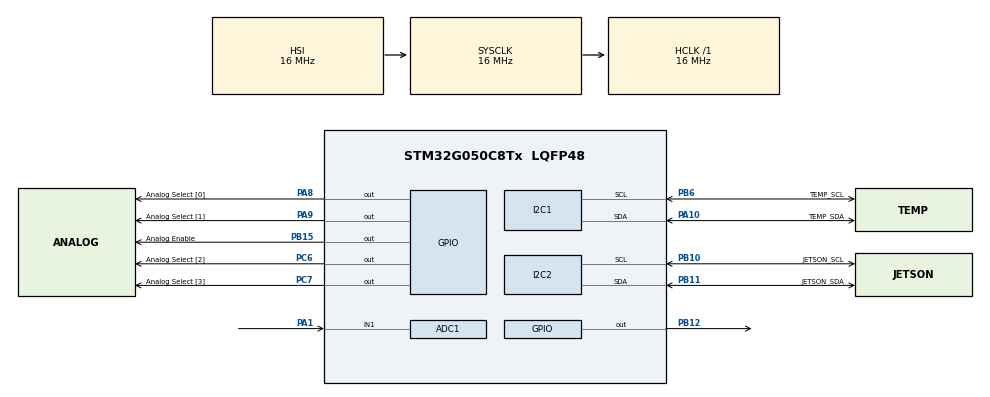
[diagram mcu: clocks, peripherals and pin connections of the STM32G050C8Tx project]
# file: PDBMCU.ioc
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ADC1.Channel-0\#ChannelRegularConversion=ADC_CHANNEL_1
ADC1.NbrOfConversionFlag=1
ADC1.Rank-0\#ChannelRegularConversion=1
ADC1.SamplingTime-0\#ChannelRegularConversion=ADC_SAMPLINGTIME_COMMON_1
ADC1.SelectedChannel=ADC_CHANNEL_1
ADC1.master=1
Mcu.Family=STM32G0
Mcu.Name=STM32G050C8Tx
Mcu.Package=LQFP48
PA1.Mode=IN1
PA1.Signal=ADC1_IN1
PA10.GPIO_Label=TEMP_SDA
PA10.Mode=I2C
PA10.Signal=I2C1_SDA
PA13.Mode=Serial_Wire
PA13.Signal=SYS_SWDIO
PA14-BOOT0.Mode=Serial_Wire
PA14-BOOT0.Signal=SYS_SWCLK
PA8.GPIO_Label=Analog Select [0]
PA8.Signal=GPIO_Output
PA9.GPIO_Label=Analog Select [1]
PA9.Signal=GPIO_Output
PB10.GPIO_Label=JETSON_SCL
PB10.Mode=I2C
PB10.Signal=I2C2_SCL
PB11.GPIO_Label=JETSON_SDA
PB11.Mode=I2C
PB11.Signal=I2C2_SDA
PB12.Signal=GPIO_Output
PB15.GPIO_Label=Analog Enable
PB15.Signal=GPIO_Output
PB6.GPIO_Label=TEMP_SCL
PB6.Mode=I2C
PB6.Signal=I2C1_SCL
PC6.GPIO_Label=Analog Select [2]
PC6.Signal=GPIO_Output
PC7.GPIO_Label=Analog Select [3]
PC7.Signal=GPIO_Output
ProjectManager.HeapSize=0x200
ProjectManager.StackSize=0x400
ProjectManager.TargetToolchain=STM32CubeIDE
RCC.AHBFreq_Value=16000000
RCC.CortexFreq_Value=16000000
RCC.EXTERNAL_CLOCK_VALUE=48000
RCC.HCLKFreq_Value=16000000
RCC.HSE_VALUE=8000000
RCC.HSI_VALUE=16000000
RCC.LSE_VALUE=32768
RCC.SYSCLKFreq_VALUE=16000000
RCC.VCOOutputFreq_Value=128000000
VP_SYS_VS_DBSignals.Mode=DisableDeadBatterySignals
board=custom

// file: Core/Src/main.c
/* USER CODE BEGIN Header */
/**
  ******************************************************************************
  * @file           : main.c
  * @brief          : Main program body
  ******************************************************************************
  * @attention
  *
  * <h2><center>&copy; Copyright (c) 2021 STMicroelectronics.
  * All rights reserved.</center></h2>
  *
  * This software component is licensed by ST under BSD 3-Clause license,
  * the "License"; You may not use this file except in compliance with the
  * License. You may obtain a copy of the License at:
  *                        opensource.org/licenses/BSD-3-Clause
  *
  ******************************************************************************
  */
/* USER CODE END Header */
#include "main.h"

/* USER CODE BEGIN Includes */
#include "temperature_sens.h"
#include "analog.h"
/* USER CODE END Includes */

/* USER CODE BEGIN PM */

#define TEMPERATURE_ENABLE
#define ANALOG_ENABLE

/* USER CODE END PM */

ADC_HandleTypeDef hadc1;

I2C_HandleTypeDef hi2c1;
I2C_HandleTypeDef hi2c2;

/* USER CODE BEGIN PV */

#ifdef TEMPERATURE_ENABLE

enum {
	TEMPERATURE_3_3_V_CHANNEL = 0,
	TEMPERATURE_5_V_CHANNEL = 1,
	TEMPERATURE_12_V_CHANNEL = 2,
	TEMPERATURE_DEVICES = 3
};

TemperatureSensor* temperature_channels[TEMPERATURE_DEVICES];

float temperature_data[TEMPERATURE_DEVICES];

SMBus* i2cBus;

#endif

#ifdef ANALOG_ENABLE

 enum {
 	VOLTAGE_DIVIDER_3_3_V = 0,
 	VOLTAGE_DIVIDER_5_V = 1,
 	VOLTAGE_DIVIDER_12_V = 2,
	VOLTAGE_DEVICES = 3
 };

enum {
	CS3_3_3_V = 0,
	CS2_5_V = 1,
	CS1_12_V = 2,
	CURRENT_DEVICES = 3
};

Analog* voltage_channels[VOLTAGE_DEVICES];
Analog* current_channels[CURRENT_DEVICES];

float voltage_data[VOLTAGE_DEVICES];
float current_data[CURRENT_DEVICES];

#endif

/* USER CODE END PV */

void SystemClock_Config(void);
static void MX_GPIO_Init(void);
static void MX_ADC1_Init(void);
static void MX_I2C1_Init(void);
static void MX_I2C2_Init(void);
/* USER CODE BEGIN PFP */

#ifdef TEMPERATURE_ENABLE

// EFFECTS: sends temperature data in the following format
// $TEMPERATURE,<t0>,<t1>,<t2>
void send_temperature_data();

#endif

#ifdef ANALOG_ENABLE

// EFFECTS: select analog channel
void select_analog_channel(const Analog* analog_device);

// EFFECTS: get analog data in the following format
// FORMAT: $CURRENT,<c0>,<c1>,<c2> and $VOLTAGE,<v0>,<v1>,<v2>
void get_analog_data();

// EFFECTS: send current data in the following format
// FORMAT: $CURRENT,<c0>,<c1>,<c2>
void send_current_data();

// EFFECTS: send voltage data in the following format
// FORMAT: $VOLTAGE,<v0>,<v1>,<v2>
void send_voltage_data();

#endif

/* USER CODE END PFP */

/* USER CODE BEGIN 0 */

#ifdef TEMPERATURE_ENABLE

// EFFECTS: sends temperature data in the following format
// FORMAT: $TEMPERATURE,<t0>,<t1>,<t2>
void send_temperature_data() {

	// TODO

	// Total length of output of string $TEMPERATURE,x,x,x
	uint8_t buffer[50] = "";

	sprintf((char *)buffer, "$TEMPERATURE,%f,%f,%f\r\n",\
			temperature_data[0], temperature_data[1], temperature_data[2]);

	HAL_I2C_Slave_Seq_Transmit_IT(&hi2c2, buffer, sizeof(buffer), I2C_LAST_FRAME);

}

#endif

#ifdef ANALOG_ENABLE

// EFFECTS: select analog channel
void select_analog_channel(const Analog* analog_device) {
	HAL_GPIO_WritePin(GPIOA, GPIO_PIN_8, analog_device->select_pins[0]); //S0
	HAL_GPIO_WritePin(GPIOA, GPIO_PIN_9, analog_device->select_pins[1]); //S1
	HAL_GPIO_WritePin(GPIOC, GPIO_PIN_6, analog_device->select_pins[2]); //S2
	HAL_GPIO_WritePin(GPIOC, GPIO_PIN_7, analog_device->select_pins[3]); //S3
	HAL_GPIO_WritePin(GPIOB, GPIO_PIN_15,  1); //ENABLE
}

// EFFECTS: get analog data in the following format
// FORMAT: $CURRENT,<c0>,<c1>,<c2> and $VOLTAGE,<v0>,<v1>,<v2>
void get_analog_data() {

    for (int i = 0; i < CURRENT_DEVICES; ++i) {
    	const Analog* analog_device = current_channels[i];
    	select_analog_channel(analog_device);
    	current_data[i] = get_current_data(analog_device);
    }

    for (int i = 0; i < VOLTAGE_DEVICES; ++i) {
    	const Analog* analog_device = voltage_channels[i];
    	select_analog_channel(analog_device);
    	voltage_data[i] = get_voltage_data(analog_device);
	}
}

// EFFECTS: send current data in the following format
// FORMAT: $CURRENT,<c0>,<c1>,<c2>
void send_current_data() {

	// TODO - verify that we are sending i2c messages properly
	// Total length of output of string $CURRENT,x,x,x
	uint8_t buffer[50] = "";

	sprintf((char *)buffer, "$CURRENT,%f,%f,%f\r\n",\
			current_data[0], current_data[1], current_data[2]);

	HAL_I2C_Slave_Seq_Transmit_IT(&hi2c2, buffer, sizeof(buffer), I2C_LAST_FRAME);
}

// EFFECTS: send analog data in the following format
// FORMAT: $VOLTAGE,<v0>,<v1>,<v2>
void send_voltage_data() {

	// TODO - verify that we are sending i2c messages properly
	// Total length of output of string $VOLTAGE,x,x,x
	uint8_t buffer[50] = "";

	sprintf((char *)buffer, "$VOLTAGE,%f,%f,%f\r\n",\
			voltage_data[0], voltage_data[1], voltage_data[2]);

	HAL_I2C_Slave_Seq_Transmit_IT(&hi2c2, buffer, sizeof(buffer), I2C_LAST_FRAME);
}

#endif

/* USER CODE END 0 */

int main(void)
{

  /* MCU Configuration--------------------------------------------------------*/

  /* Reset of all peripherals, Initializes the Flash interface and the Systick. */
  HAL_Init();

  /* USER CODE BEGIN Init */

#ifdef TEMPERATURE_ENABLE

i2cBus = new_smbus(&hi2c1);
disable_DMA(i2cBus);

temperature_channels[TEMPERATURE_3_3_V_CHANNEL] = new_temperature_sensor(i2cBus, 0, 0, 0);
temperature_channels[TEMPERATURE_5_V_CHANNEL] = new_temperature_sensor(i2cBus, 1, 0, 0);
temperature_channels[TEMPERATURE_12_V_CHANNEL] = new_temperature_sensor(i2cBus, 0, 1, 0);

#endif

#ifdef ANALOG_ENABLE

current_channels[CS3_3_3_V] = new_analog(&hadc1, 0, 0, 1, 0);
current_channels[CS2_5_V] = new_analog(&hadc1, 0, 1, 0, 0);
current_channels[CS1_12_V] = new_analog(&hadc1, 0, 0, 0, 0);

voltage_channels[VOLTAGE_DIVIDER_3_3_V] = new_analog(&hadc1, 1, 0, 1, 0);
voltage_channels[VOLTAGE_DIVIDER_5_V] = new_analog(&hadc1, 1, 1, 0, 0);
voltage_channels[VOLTAGE_DIVIDER_12_V] = new_analog(&hadc1, 1, 0, 0, 0);

#endif

  /* USER CODE END Init */

  /* Configure the system clock */
  SystemClock_Config();

  /* Initialize all configured peripherals */
  MX_GPIO_Init();
  MX_ADC1_Init();
  MX_I2C1_Init();
  MX_I2C2_Init();

  /* Infinite loop */
  while (1)
  {

    /* USER CODE BEGIN 3 */
#ifdef TEMPERATURE_ENABLE

      for (int i = 0; i < TEMPERATURE_DEVICES; ++i) {
          temperature_data[i] = get_temperature_data(temperature_channels[i]);
      }

      send_temperature_data(temperature_data);

#endif

#ifdef ANALOG_ENABLE
      get_analog_data();
      send_current_data();
      send_voltage_data();
#endif
  }
  /* USER CODE END 3 */
}

void SystemClock_Config(void)
{
  RCC_OscInitTypeDef RCC_OscInitStruct = {0};
  RCC_ClkInitTypeDef RCC_ClkInitStruct = {0};
  RCC_PeriphCLKInitTypeDef PeriphClkInit = {0};

  /** Configure the main internal regulator output voltage
  */
  HAL_PWREx_ControlVoltageScaling(PWR_REGULATOR_VOLTAGE_SCALE1);
  /** Initializes the RCC Oscillators according to the specified parameters
  * in the RCC_OscInitTypeDef structure.
  */
  RCC_OscInitStruct.OscillatorType = RCC_OSCILLATORTYPE_HSI;
  RCC_OscInitStruct.HSIState = RCC_HSI_ON;
  RCC_OscInitStruct.HSIDiv = RCC_HSI_DIV1;
  RCC_OscInitStruct.HSICalibrationValue = RCC_HSICALIBRATION_DEFAULT;
  RCC_OscInitStruct.PLL.PLLState = RCC_PLL_NONE;
  if (HAL_RCC_OscConfig(&RCC_OscInitStruct) != HAL_OK)
  {
    Error_Handler();
  }
  /** Initializes the CPU, AHB and APB buses clocks
  */
  RCC_ClkInitStruct.ClockType = RCC_CLOCKTYPE_HCLK|RCC_CLOCKTYPE_SYSCLK
                              |RCC_CLOCKTYPE_PCLK1;
  RCC_ClkInitStruct.SYSCLKSource = RCC_SYSCLKSOURCE_HSI;
  RCC_ClkInitStruct.AHBCLKDivider = RCC_SYSCLK_DIV1;
  RCC_ClkInitStruct.APB1CLKDivider = RCC_HCLK_DIV1;

  if (HAL_RCC_ClockConfig(&RCC_ClkInitStruct, FLASH_LATENCY_0) != HAL_OK)
  {
    Error_Handler();
  }
  /** Initializes the peripherals clocks
  */
  PeriphClkInit.PeriphClockSelection = RCC_PERIPHCLK_I2C1;
  PeriphClkInit.I2c1ClockSelection = RCC_I2C1CLKSOURCE_PCLK1;
  if (HAL_RCCEx_PeriphCLKConfig(&PeriphClkInit) != HAL_OK)
  {
    Error_Handler();
  }
}

static void MX_ADC1_Init(void)
{

  ADC_ChannelConfTypeDef sConfig = {0};

  /** Configure the global features of the ADC (Clock, Resolution, Data Alignment and number of conversion)
  */
  hadc1.Instance = ADC1;
  hadc1.Init.ClockPrescaler = ADC_CLOCK_SYNC_PCLK_DIV2;
  hadc1.Init.Resolution = ADC_RESOLUTION_12B;
  hadc1.Init.DataAlign = ADC_DATAALIGN_RIGHT;
  hadc1.Init.ScanConvMode = ADC_SCAN_DISABLE;
  hadc1.Init.EOCSelection = ADC_EOC_SINGLE_CONV;
  hadc1.Init.LowPowerAutoWait = DISABLE;
  hadc1.Init.LowPowerAutoPowerOff = DISABLE;
  hadc1.Init.ContinuousConvMode = DISABLE;
  hadc1.Init.NbrOfConversion = 1;
  hadc1.Init.DiscontinuousConvMode = DISABLE;
  hadc1.Init.ExternalTrigConv = ADC_SOFTWARE_START;
  hadc1.Init.ExternalTrigConvEdge = ADC_EXTERNALTRIGCONVEDGE_NONE;
  hadc1.Init.DMAContinuousRequests = DISABLE;
  hadc1.Init.Overrun = ADC_OVR_DATA_PRESERVED;
  hadc1.Init.SamplingTimeCommon1 = ADC_SAMPLETIME_1CYCLE_5;
  hadc1.Init.SamplingTimeCommon2 = ADC_SAMPLETIME_1CYCLE_5;
  hadc1.Init.OversamplingMode = DISABLE;
  hadc1.Init.TriggerFrequencyMode = ADC_TRIGGER_FREQ_HIGH;
  if (HAL_ADC_Init(&hadc1) != HAL_OK)
  {
    Error_Handler();
  }
  /** Configure Regular Channel
  */
  sConfig.Channel = ADC_CHANNEL_1;
  sConfig.Rank = ADC_REGULAR_RANK_1;
  sConfig.SamplingTime = ADC_SAMPLINGTIME_COMMON_1;
  if (HAL_ADC_ConfigChannel(&hadc1, &sConfig) != HAL_OK)
  {
    Error_Handler();
  }

}

static void MX_I2C1_Init(void)
{

  hi2c1.Instance = I2C1;
  hi2c1.Init.Timing = 0x00303D5B;
  hi2c1.Init.OwnAddress1 = 0;
  hi2c1.Init.AddressingMode = I2C_ADDRESSINGMODE_7BIT;
  hi2c1.Init.DualAddressMode = I2C_DUALADDRESS_DISABLE;
  hi2c1.Init.OwnAddress2 = 0;
  hi2c1.Init.OwnAddress2Masks = I2C_OA2_NOMASK;
  hi2c1.Init.GeneralCallMode = I2C_GENERALCALL_DISABLE;
  hi2c1.Init.NoStretchMode = I2C_NOSTRETCH_DISABLE;
  if (HAL_I2C_Init(&hi2c1) != HAL_OK)
  {
    Error_Handler();
  }
  /** Configure Analogue filter
  */
  if (HAL_I2CEx_ConfigAnalogFilter(&hi2c1, I2C_ANALOGFILTER_ENABLE) != HAL_OK)
  {
    Error_Handler();
  }
  /** Configure Digital filter
  */
  if (HAL_I2CEx_ConfigDigitalFilter(&hi2c1, 0) != HAL_OK)
  {
    Error_Handler();
  }

}

static void MX_I2C2_Init(void)
{

  hi2c2.Instance = I2C2;
  hi2c2.Init.Timing = 0x00303D5B;
  hi2c2.Init.OwnAddress1 = 0;
  hi2c2.Init.AddressingMode = I2C_ADDRESSINGMODE_7BIT;
  hi2c2.Init.DualAddressMode = I2C_DUALADDRESS_DISABLE;
  hi2c2.Init.OwnAddress2 = 0;
  hi2c2.Init.OwnAddress2Masks = I2C_OA2_NOMASK;
  hi2c2.Init.GeneralCallMode = I2C_GENERALCALL_DISABLE;
  hi2c2.Init.NoStretchMode = I2C_NOSTRETCH_DISABLE;
  if (HAL_I2C_Init(&hi2c2) != HAL_OK)
  {
    Error_Handler();
  }
  /** Configure Analogue filter
  */
  if (HAL_I2CEx_ConfigAnalogFilter(&hi2c2, I2C_ANALOGFILTER_ENABLE) != HAL_OK)
  {
    Error_Handler();
  }
  /** Configure Digital filter
  */
  if (HAL_I2CEx_ConfigDigitalFilter(&hi2c2, 0) != HAL_OK)
  {
    Error_Handler();
  }

}

static void MX_GPIO_Init(void)
{
  GPIO_InitTypeDef GPIO_InitStruct = {0};

  /* GPIO Ports Clock Enable */
  __HAL_RCC_GPIOA_CLK_ENABLE();
  __HAL_RCC_GPIOB_CLK_ENABLE();
  __HAL_RCC_GPIOC_CLK_ENABLE();

  /*Configure GPIO pin Output Level */
  HAL_GPIO_WritePin(GPIOB, GPIO_PIN_12|Analog_Enable_Pin, GPIO_PIN_RESET);

  /*Configure GPIO pin Output Level */
  HAL_GPIO_WritePin(GPIOA, Analog_Select_Pin|Analog_SelectA9_Pin, GPIO_PIN_RESET);

  /*Configure GPIO pin Output Level */
  HAL_GPIO_WritePin(GPIOC, Analog_SelectC6_Pin|Analog_SelectC7_Pin, GPIO_PIN_RESET);

  /*Configure GPIO pins : PB12 Analog_Enable_Pin */
  GPIO_InitStruct.Pin = GPIO_PIN_12|Analog_Enable_Pin;
  GPIO_InitStruct.Mode = GPIO_MODE_OUTPUT_PP;
  GPIO_InitStruct.Pull = GPIO_NOPULL;
  GPIO_InitStruct.Speed = GPIO_SPEED_FREQ_LOW;
  HAL_GPIO_Init(GPIOB, &GPIO_InitStruct);

  /*Configure GPIO pins : Analog_Select_Pin Analog_SelectA9_Pin */
  GPIO_InitStruct.Pin = Analog_Select_Pin|Analog_SelectA9_Pin;
  GPIO_InitStruct.Mode = GPIO_MODE_OUTPUT_PP;
  GPIO_InitStruct.Pull = GPIO_NOPULL;
  GPIO_InitStruct.Speed = GPIO_SPEED_FREQ_LOW;
  HAL_GPIO_Init(GPIOA, &GPIO_InitStruct);

  /*Configure GPIO pins : Analog_SelectC6_Pin Analog_SelectC7_Pin */
  GPIO_InitStruct.Pin = Analog_SelectC6_Pin|Analog_SelectC7_Pin;
  GPIO_InitStruct.Mode = GPIO_MODE_OUTPUT_PP;
  GPIO_InitStruct.Pull = GPIO_NOPULL;
  GPIO_InitStruct.Speed = GPIO_SPEED_FREQ_LOW;
  HAL_GPIO_Init(GPIOC, &GPIO_InitStruct);

}

void Error_Handler(void)
{
  __disable_irq();
  while (1)
  {
  }
}

/************************ (C) COPYRIGHT STMicroelectronics *****END OF FILE****/
